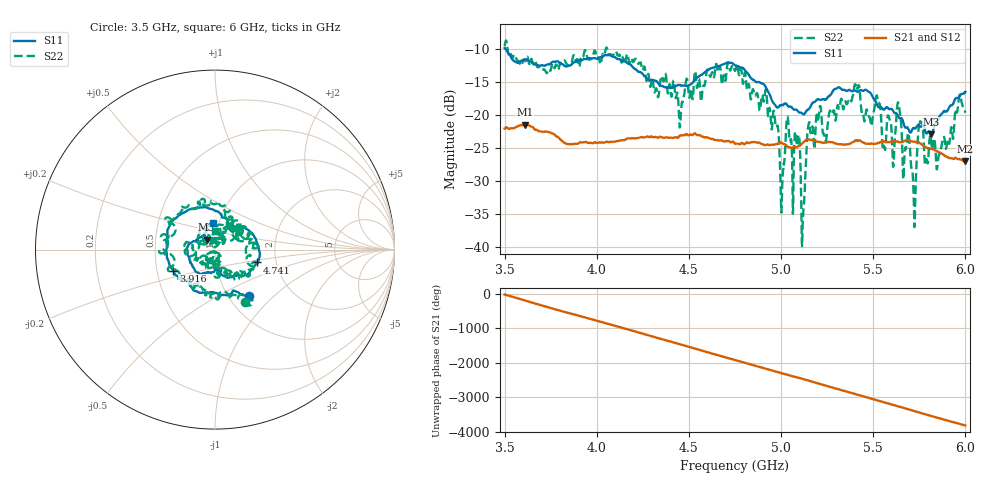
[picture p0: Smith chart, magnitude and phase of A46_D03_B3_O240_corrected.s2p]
! Created with skrf 1.9.0 (http://scikit-rf.org).
# Hz S RI R 50.0
!freq ReS11 ImS11 ReS21 ImS21 ReS12 ImS12 ReS22 ImS22
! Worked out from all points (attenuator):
!   1601 points, 3.5 GHz to 6 GHz, reference 50 ohm
!   highest |S21| = -21.41 dB at 3.611 GHz (marker M1); lowest = -27.0 dB at 6 GHz (marker M2)
!   lowest |S11| = -22.9 dB at 5.816 GHz (marker M3), VSWR 1.16, Z = 45.3 + j4.99 ohm
!   |S11| at or under -10 dB: 3.506 GHz to end of sweep
!   |S22| runs from -39.8 to -8.7 dB; largest |S21 - S12| = 0.001
!   S11 on the Smith chart (normalised r, x): 3.5 GHz: 1.24, -0.72; 3.916 GHz: 0.61, -0.16; 4.741 GHz: 1.59, -0.24; 6 GHz: 0.94, +0.29
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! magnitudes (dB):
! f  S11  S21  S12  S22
! 3.5 GHz  -9.8  -22.0  -22.0  -9.5
! 3.611 GHz  -11.5  -21.4  -21.4  -11.8
! 3.916 GHz  -11.7  -24.1  -24.1  -11.1
! 3.917 GHz  -11.7  -24.1  -24.1  -11.0
! 4.334 GHz  -15.2  -23.4  -23.3  -17.2
! 4.741 GHz  -12.2  -24.0  -24.0  -12.4
! 4.75 GHz  -12.4  -24.3  -24.2  -13.3
! 4.969 GHz  -18.5  -24.4  -24.3  -21.3
! 5.005 GHz  -18.4  -24.2  -24.2  -32.0
! 5.034 GHz  -18.5  -24.8  -24.7  -20.2
! 5.088 GHz  -19.2  -24.8  -24.8  -24.4
! 5.119 GHz  -19.8  -24.1  -24.1  -35.6
! 5.145 GHz  -19.1  -23.6  -23.6  -22.0
! 5.167 GHz  -18.2  -23.7  -23.7  -21.9
! 5.409 GHz  -16.4  -23.8  -23.7  -15.9
! 5.584 GHz  -19.0  -24.0  -24.0  -20.1
! 5.611 GHz  -19.5  -23.9  -23.8  -27.0
! 5.639 GHz  -20.4  -24.1  -24.0  -18.4
! 5.72 GHz  -21.9  -24.0  -23.9  -33.2
! 5.755 GHz  -21.7  -24.2  -24.2  -20.9
! 5.816 GHz  -22.9  -25.1  -25.0  -24.3
! 6 GHz  -16.4  -27.0  -26.9  -19.6
